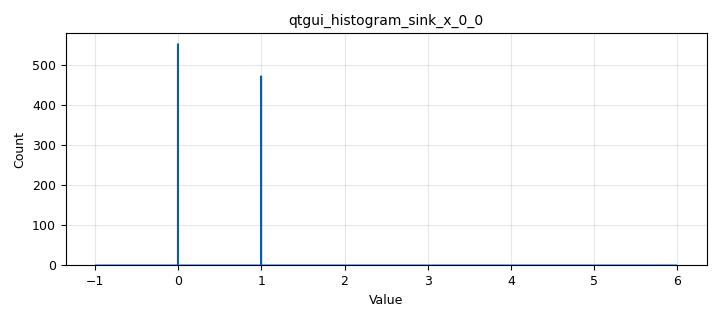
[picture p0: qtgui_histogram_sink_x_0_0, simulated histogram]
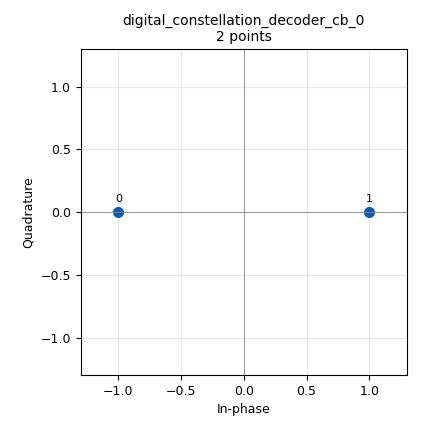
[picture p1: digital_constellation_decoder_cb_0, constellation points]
options:
  parameters:
    category: Custom
    generate_options: qt_gui
    id: variant_b_hamming
    output_language: python
    run_command: '{python} -u {filename} '
    title: MPSK channel with Noise and Hamming Encoding
  states: {}

blocks:
- name: Modulacia
  id: variable_constellation
  parameters:
    precision: '8'
    type: bpsk
  states: {state: disabled}
- name: N
  id: variable
  parameters:
    value: '2'
  states: {}
- name: modulation
  id: variable_constellation
  parameters:
    const_points: modulation_config.get_constellation(modulation_name)
    precision: '8'
    sym_map: modulation_config.get_symbol_map(modulation_name)
    type: bpsk
  states: {}
- name: samp_rate
  id: variable
  parameters:
    value: '32000'
  states: {}
- name: ErTools_AWGN_0
  id: ErTools_AWGN
  parameters:
    M: '2'
    k: '4'
    n: '7'
  states: {}
- name: ErTools_BER_0
  id: ErTools_BER
  parameters:
    M: '2'
    N: '256'
  states: {}
- name: ErTools_MC_0
  id: ErTools_MC
  parameters:
    EbN0max: '15'
    EbN0min: '0'
    N: '256'
  states: {}
- name: analog_random_source_x_0
  id: analog_random_source_x
  parameters:
    max: '2'
    min: '0'
    num_samps: '100000'
    repeat: 'True'
    type: byte
  states: {}
- name: blocks_char_to_float_0
  id: blocks_char_to_float
  parameters:
    scale: '1'
  states: {state: disabled}
- name: blocks_char_to_float_0_0
  id: blocks_char_to_float
  parameters:
    scale: '1'
  states: {state: disabled}
- name: blocks_char_to_float_0_0_0
  id: blocks_char_to_float
  parameters:
    scale: '1'
  states: {}
- name: blocks_char_to_float_0_0_0_0
  id: blocks_char_to_float
  parameters:
    scale: '1'
  states: {}
- name: blocks_nlog10_ff_0
  id: blocks_nlog10_ff
  parameters:
    k: '0'
  states: {}
- name: blocks_repack_bits_bb_0
  id: blocks_repack_bits_bb
  parameters:
    endianness: gr.GR_LSB_FIRST
    k: '7'
    l: '1'
  states: {}
- name: blocks_repack_bits_bb_0_0
  id: blocks_repack_bits_bb
  parameters:
    endianness: gr.GR_LSB_FIRST
    k: '1'
    l: '4'
  states: {}
- name: blocks_repack_bits_bb_0_0_0
  id: blocks_repack_bits_bb
  parameters:
    endianness: gr.GR_LSB_FIRST
    k: '1'
    l: '7'
  states: {}
- name: blocks_repack_bits_bb_0_1
  id: blocks_repack_bits_bb
  parameters:
    endianness: gr.GR_LSB_FIRST
    k: '4'
    l: '1'
  states: {}
- name: blocks_stream_to_vector_0
  id: blocks_stream_to_vector
  parameters:
    num_items: '256'
    type: float
  states: {}
- name: blocks_stream_to_vector_1
  id: blocks_stream_to_vector
  parameters:
    num_items: '7'
    type: complex
  states: {}
- name: blocks_sub_xx_0
  id: blocks_sub_xx
  parameters:
    type: float
  states: {state: disabled}
- name: blocks_throttle2_0
  id: blocks_throttle2
  parameters:
    samples_per_second: samp_rate
    type: complex
  states: {}
- name: blocks_vector_to_stream_0
  id: blocks_vector_to_stream
  parameters:
    num_items: '7'
    type: complex
  states: {}
- name: digital_constellation_decoder_cb_0
  id: digital_constellation_decoder_cb
  parameters:
    constellation: modulation
  states: {}
- name: digital_constellation_encoder_bc_0
  id: digital_constellation_encoder_bc
  parameters:
    constellation: modulation
  states: {}
- name: epy_block_0
  id: epy_block
  parameters:
    _source_code: |
      import numpy as np
      from gnuradio import gr


      class hamming74_enc(gr.sync_block):
          def __init__(self):
              gr.sync_block.__init__(
                  self,
                  name="Hamming (7,4) Encoder",
                  in_sig=[np.int8],
                  out_sig=[np.int8]
              )

          def work(self, input_items, output_items):
              inp = input_items[0]
              out = output_items[0]

              n = len(inp) // 4
              out_len = min(len(out) // 7, n)

              for i in range(out_len):
                  b = inp[i*4:(i+1)*4]

                  out[i*7 + 0] = b[0]
                  out[i*7 + 1] = b[1]
                  out[i*7 + 2] = b[2]
                  out[i*7 + 3] = b[3]

                  out[i*7 + 4] = b[0] ^ b[1] ^ b[3]
                  out[i*7 + 5] = b[0] ^ b[2] ^ b[3]
                  out[i*7 + 6] = b[1] ^ b[2] ^ b[3]

              return out_len * 7
  states: {}
- name: epy_block_1
  id: epy_block
  parameters:
    _source_code: |
      import numpy as np
      from gnuradio import gr


      class hamming74_dec(gr.sync_block):
          def __init__(self):
              gr.sync_block.__init__(
                  self,
                  name="Hamming (7,4) Decoder",
                  in_sig=[np.int8],
                  out_sig=[np.int8]
              )

          def work(self, input_items, output_items):
              inp = input_items[0]
              out = output_items[0]

              n = len(inp) // 7
              out_len = min(len(out) // 4, n)

              for i in range(out_len):
                  c = inp[i*7:(i+1)*7]

                  # syndrome
                  s1 = c[0] ^ c[1] ^ c[3] ^ c[4]
                  s2 = c[0] ^ c[2] ^ c[3] ^ c[5]
                  s3 = c[1] ^ c[2] ^ c[3] ^ c[6]
                  syndrome = s1 + (s2 << 1) + (s3 << 2)

                  # correct copy (do NOT modify input)
                  c = list(c)

                  if syndrome == 3:
                      c[0] ^= 1
                  elif syndrome == 5:
                      c[1] ^= 1
                  elif syndrome == 6:
                      c[2] ^= 1
                  elif syndrome == 7:
                      c[3] ^= 1
                  elif syndrome == 1:
                      c[4] ^= 1
                  elif syndrome == 2:
                      c[5] ^= 1
                  elif syndrome == 4:
                      c[6] ^= 1

                  # output original 4 bits
                  out[i*4 + 0] = c[0]
                  out[i*4 + 1] = c[1]
                  out[i*4 + 2] = c[2]
                  out[i*4 + 3] = c[3]

              return out_len * 4
  states: {}
- name: modulation_config
  id: epy_module
  parameters:
    source_code: "\r\nimport numpy as np\r\n\r\ndef get_constellation(modulation):\r\n    \"\"\"\r\n    Returns the constellation points for the specified modulation scheme.\r\n\r\n    Parameters:\r\n    modulation (str): The modulation scheme ('BPSK', 'QPSK').\r\n\r\n    Returns:\r\n    numpy.ndarray: Array of constellation points.\r\n    \"\"\"\r\n    modulation = modulation.upper()\r\n\r\n    constellations = {\r\n    'BPSK': lambda: np.array([-1, 1]),\r\n    'QPSK': lambda: np.array([1+1j, 1-1j, -1+1j, -1-1j])\r\n    }\r\n\r\n\r\n    if modulation in constellations:\r\n        return constellations[modulation]()\r\n    else:\r\n        raise ValueError(\"Unsupported modulation type. Use 'BPSK', 'QPSK'.\")\r\n\r\ndef get_symbol_map(modulation):\r\n    \"\"\"\r\n    Returns the symbol map for the specified modulation scheme.\r\n\r\n    Parameters:\r\n    modulation (str): The modulation scheme ('BPSK', 'QPSK').\r\n\r\n    Returns:\r\n    list: A list of symbol indices for the specified modulation scheme.\r\n    \"\"\"\r\n    modulation = modulation.upper()\r\n    symbol_counts = {\r\n        'BPSK': 2,\r\n        'QPSK': 4,\r\n    }\r\n\r\n    if modulation in symbol_counts:\r\n        return [i for i in range(symbol_counts[modulation])]\r\n    else:\r\n        raise ValueError(\"Unsupported modulation type. Use 'BPSK', 'QPSK'.\")\r\n\r\n\r\nimport math\r\n\r\ndef calculate_noise(modulation: str, ebno: float, k: int): \r\n    if modulation == 'BPSK':\r\n        snr_linear = 10 ** (ebno / 10) + 10*math.log(k/7,10)\r\n        noise_variance = 1 / snr_linear \r\n        noise = math.sqrt(noise_variance)\r\n        return noise\r\n\r\n    elif modulation == 'QPSK':\r\n        snr_db = ebno + 10*math.log(2,10) + 10*math.log(k/7,10)\r\n        snr_linear = 10 ** (snr_db / 10)\r\n        noise_variance = 1 / snr_linear \r\n        noise = math.sqrt(noise_variance)\r\n        return noise"
  states: {}
- name: modulation_name
  id: parameter
  parameters:
    label: Modulation Name
    type: str
    value: BPSK
  states: {}
- name: qtgui_const_sink_x_0
  id: qtgui_const_sink_x
  parameters:
    nconnections: '2'
    size: '1024'
    type: complex
  states: {state: disabled}
- name: qtgui_histogram_sink_x_0
  id: qtgui_histogram_sink_x
  parameters:
    bins: '1024'
    size: '1024'
    type: float
    xmax: '6'
    xmin: '-1'
  states: {}
- name: qtgui_histogram_sink_x_0_0
  id: qtgui_histogram_sink_x
  parameters:
    bins: '1024'
    size: '1024'
    type: float
    xmax: '6'
    xmin: '-1'
  states: {}
- name: qtgui_time_sink_x_0
  id: qtgui_time_sink_x
  parameters:
    autoscale: 'True'
    grid: 'True'
    size: '1024'
    srate: samp_rate
    type: float
  states: {state: disabled}
- name: qtgui_vector_sink_f_0_0
  id: qtgui_vector_sink_f
  parameters:
    alpha1: '1'
    color1: '"red"'
    grid: 'True'
    gui_hint: 2,0,1,1
    label1: '"Simulácia HAMMING QPSK"'
    name: '"BER"'
    update_time: '0.1'
    vlen: '256'
    width1: '2'
    x_axis_label: '"Eb/N0 [dB]"'
    x_start: '0'
    x_step: float(15) / float(256 - 1)
    x_units: '"dB"'
    y_axis_label: '"log Pb"'
    ymax: '0'
    ymin: '-6'
  states: {}
- name: virtual_sink_0
  id: virtual_sink
  parameters:
    stream_id: hamming_signal
  states: {}
- name: virtual_sink_1
  id: virtual_sink
  parameters:
    stream_id: hamming_signal_output
  states: {}
- name: virtual_sink_2
  id: virtual_sink
  parameters:
    stream_id: original_signal
  states: {}
- name: virtual_source_0
  id: virtual_source
  parameters:
    stream_id: hamming_signal
  states: {}
- name: virtual_source_1_0_0_0_0
  id: virtual_source
  parameters:
    stream_id: hamming_signal_output
  states: {}
- name: virtual_source_1_0_2_0
  id: virtual_source
  parameters:
    stream_id: original_signal
  states: {}

connections:
- [ErTools_AWGN_0, '0', blocks_vector_to_stream_0, '0']
- [ErTools_BER_0, '0', blocks_nlog10_ff_0, '0']
- [ErTools_MC_0, '0', ErTools_AWGN_0, '1']
- [ErTools_MC_0, '1', ErTools_BER_0, '0']
- [analog_random_source_x_0, '0', blocks_char_to_float_0_0, '0']
- [analog_random_source_x_0, '0', blocks_char_to_float_0_0_0_0, '0']
- [analog_random_source_x_0, '0', blocks_repack_bits_bb_0_0, '0']
- [analog_random_source_x_0, '0', virtual_sink_2, '0']
- [blocks_char_to_float_0, '0', blocks_sub_xx_0, '0']
- [blocks_char_to_float_0_0, '0', blocks_sub_xx_0, '1']
- [blocks_char_to_float_0_0_0, '0', qtgui_histogram_sink_x_0, '0']
- [blocks_char_to_float_0_0_0_0, '0', qtgui_histogram_sink_x_0_0, '0']
- [blocks_nlog10_ff_0, '0', blocks_stream_to_vector_0, '0']
- [blocks_repack_bits_bb_0, '0', digital_constellation_encoder_bc_0, '0']
- [blocks_repack_bits_bb_0_0, '0', epy_block_0, '0']
- [blocks_repack_bits_bb_0_0_0, '0', epy_block_1, '0']
- [blocks_repack_bits_bb_0_1, '0', blocks_char_to_float_0, '0']
- [blocks_repack_bits_bb_0_1, '0', virtual_sink_1, '0']
- [blocks_stream_to_vector_0, '0', qtgui_vector_sink_f_0_0, '0']
- [blocks_stream_to_vector_1, '0', ErTools_AWGN_0, '0']
- [blocks_sub_xx_0, '0', qtgui_time_sink_x_0, '0']
- [blocks_throttle2_0, '0', blocks_stream_to_vector_1, '0']
- [blocks_vector_to_stream_0, '0', virtual_sink_0, '0']
- [digital_constellation_decoder_cb_0, '0', blocks_repack_bits_bb_0_0_0, '0']
- [digital_constellation_encoder_bc_0, '0', blocks_throttle2_0, '0']
- [digital_constellation_encoder_bc_0, '0', qtgui_const_sink_x_0, '0']
- [epy_block_0, '0', blocks_repack_bits_bb_0, '0']
- [epy_block_1, '0', blocks_char_to_float_0_0_0, '0']
- [epy_block_1, '0', blocks_repack_bits_bb_0_1, '0']
- [virtual_source_0, '0', digital_constellation_decoder_cb_0, '0']
- [virtual_source_1_0_0_0_0, '0', ErTools_BER_0, '1']
- [virtual_source_1_0_2_0, '0', ErTools_BER_0, '2']

metadata:
  file_format: 1
  grc_version: 3.10.9.2
